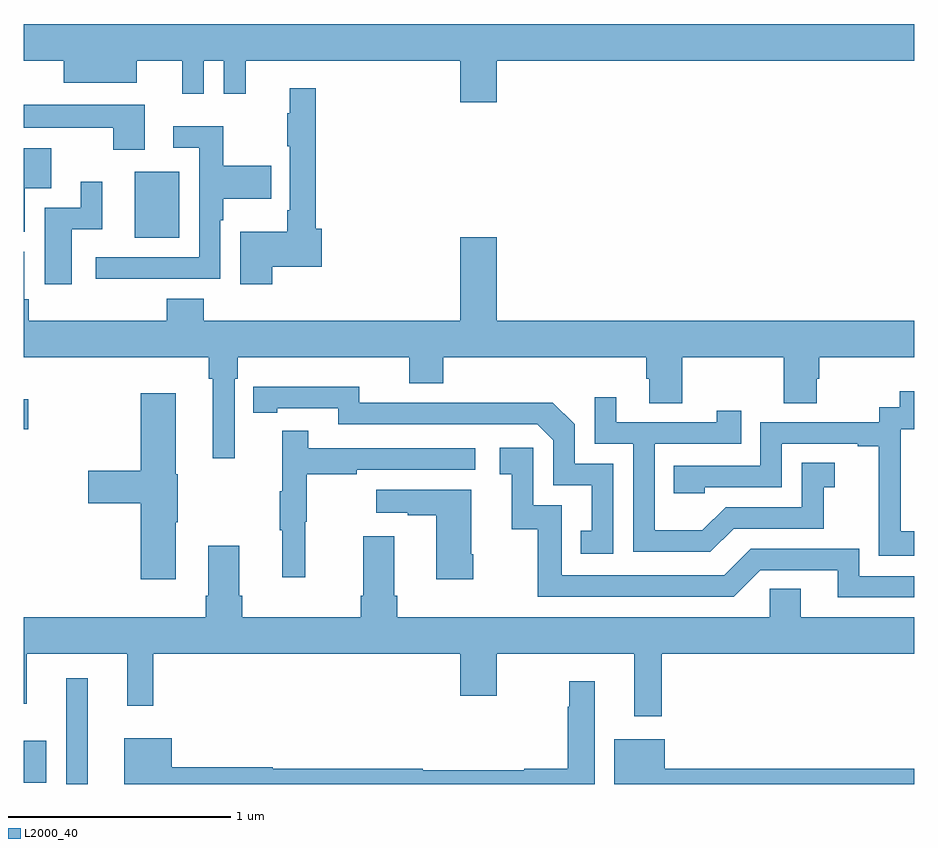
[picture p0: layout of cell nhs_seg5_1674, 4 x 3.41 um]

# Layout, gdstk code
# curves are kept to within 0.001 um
import gdstk
lib = gdstk.Library(unit=1e-6, precision=1e-09)
def R(c, l, rs):  # rectangles x0, y0, x1, y1
    for r in rs: c.add(gdstk.rectangle(r[:2], r[2:], *l))
def P(c, l, *ps):  # polygons
    for p in ps: c.add(gdstk.Polygon(p, *l))
L2000_40 = (2000, 40)

nhs_seg5_1674 = lib.new_cell('nhs_seg5_1674')
R(nhs_seg5_1674, L2000_40, [(211.191,898.799,211.288,899.275), (211,898.805,211.102,898.993), (211,900.392,211.021,900.526), (211.499,901.253,211.699,901.549)])
P(nhs_seg5_1674, L2000_40, [(213.124,902.048),(215,902.048),(215,902.212),(211,902.212),(211,902.048),(211.181,902.048),(211.181,901.949),(211.507,901.949),(211.507,902.048),(211.712,902.048),(211.712,901.899),(211.809,901.899),(211.809,902.048),(211.899,902.048),(211.899,901.899),(211.997,901.899),(211.997,902.048),(212.96,902.048),(212.96,901.86),(213.124,901.86)],
  [(212.117,901.121),(212.339,901.121),(212.339,901.292),(212.312,901.292),(212.312,901.924),(212.195,901.924),(212.195,901.811),(212.184,901.811),(212.184,901.663),(212.196,901.663),(212.196,901.375),(212.184,901.375),(212.184,901.279),(211.973,901.279),(211.973,901.044),(212.117,901.044)],
  [(211.543,901.849),(211,901.849),(211,901.745),(211.403,901.745),(211.403,901.647),(211.543,901.647)],
  [(211.559,901.068),(211.884,901.068),(211.884,901.331),(211.897,901.331),(211.897,901.427),(212.111,901.427),(212.111,901.575),(211.897,901.575),(211.897,901.753),(211.671,901.753),(211.671,901.656),(211.788,901.656),(211.788,901.164),(211.323,901.164),(211.323,901.067),(211.559,901.067)],
  [(211.006,901.475),(211.123,901.475),(211.123,901.654),(211,901.654),(211,901.278),(211.006,901.278)],
  [(211.216,901.29),(211.354,901.29),(211.354,901.504),(211.256,901.504),(211.256,901.386),(211.094,901.386),(211.094,901.044),(211.216,901.044)],
  [(211.947,900.62),(211.961,900.62),(211.961,900.716),(212.732,900.716),(212.732,900.599),(212.885,900.599),(212.885,900.716),(213.797,900.716),(213.797,900.618),(213.809,900.618),(213.809,900.508),(213.957,900.508),(213.957,900.716),(214.414,900.716),(214.414,900.508),(214.561,900.508),(214.561,900.618),(214.574,900.618),(214.574,900.716),(215,900.716),(215,900.88),(213.124,900.88),(213.124,901.255),(212.96,901.255),(212.96,900.88),(211.808,900.88),(211.808,900.979),(211.643,900.979),(211.643,900.88),(211.022,900.88),(211.022,900.976),(211.002,900.976),(211.002,901.189),(211,901.189),(211,900.716),(211.831,900.716),(211.831,900.62),(211.85,900.62),(211.85,900.261),(211.947,900.261)],
  [(213.648,900.237),(213.474,900.237),(213.474,900.414),(213.376,900.512),(212.968,900.512),(212.968,900.51),(212.508,900.51),(212.508,900.583),(212.032,900.582),(212.032,900.466),(212.14,900.466),(212.14,900.486),(212.412,900.486),(212.412,900.414),(213.306,900.414),(213.378,900.342),(213.378,900.141),(213.551,900.141),(213.551,899.937),(213.502,899.937),(213.502,899.832),(213.648,899.832)],
  [(215,899.935),(214.94,899.935),(214.94,900.164),(214.938,900.164),(214.938,900.393),(215,900.393),(215,900.562),(214.935,900.562),(214.935,900.492),(214.842,900.492),(214.842,900.423),(214.308,900.423),(214.308,900.228),(213.919,900.228),(213.919,900.105),(214.059,900.105),(214.059,900.132),(214.404,900.132),(214.404,900.327),(214.745,900.327),(214.745,900.315),(214.841,900.315),(214.841,900.031),(214.84,900.031),(214.84,899.825),(215,899.825)],
  [(211.684,899.975),(211.692,899.975),(211.692,900.189),(211.684,900.189),(211.684,900.553),(211.526,900.553),(211.526,900.206),(211.29,900.206),(211.29,900.059),(211.526,900.059),(211.526,899.718),(211.684,899.718)],
  [(214.189,899.946),(214.593,899.946),(214.593,900.131),(214.642,900.131),(214.642,900.241),(214.494,900.241),(214.494,900.042),(214.152,900.042),(214.048,899.938),(213.834,899.938),(213.834,900.327),(214.223,900.327),(214.223,900.475),(214.112,900.475),(214.112,900.423),(213.661,900.423),(213.661,900.535),(213.564,900.535),(213.564,900.327),(213.738,900.327),(213.738,899.841),(214.084,899.841)],
  [(212.264,899.976),(212.272,899.976),(212.272,900.19),(212.495,900.19),(212.495,900.21),(213.028,900.21),(213.028,900.306),(212.279,900.306),(212.279,900.385),(212.162,900.385),(212.162,900.113),(212.151,900.113),(212.151,899.939),(212.162,899.939),(212.162,899.727),(212.264,899.727)],
  [(215,899.733),(214.752,899.733),(214.752,899.856),(214.266,899.856),(214.146,899.736),(213.417,899.736),(213.417,900.051),(213.288,900.051),(213.288,900.31),(213.138,900.31),(213.138,900.189),(213.191,900.189),(213.191,899.943),(213.309,899.943),(213.309,899.64),(214.188,899.64),(214.308,899.76),(214.655,899.76),(214.655,899.637),(215,899.637)],
  [(213.018,899.83),(213.01,899.83),(213.01,900.121),(212.583,900.121),(212.583,900.017),(212.726,900.017),(212.726,900.007),(212.852,900.007),(212.852,899.718),(213.018,899.718)],
  [(212.96,899.196),(213.124,899.196),(213.124,899.384),(213.743,899.384),(213.743,899.103),(213.865,899.103),(213.865,899.384),(215,899.384),(215,899.548),(214.489,899.548),(214.489,899.675),(214.35,899.675),(214.35,899.548),(212.678,899.548),(212.678,899.644),(212.665,899.644),(212.665,899.911),(212.525,899.911),(212.525,899.644),(212.513,899.644),(212.513,899.548),(211.982,899.548),(211.982,899.644),(211.969,899.644),(211.969,899.869),(211.829,899.869),(211.829,899.644),(211.817,899.644),(211.817,899.548),(211,899.548),(211,899.159),(211.013,899.159),(211.013,899.384),(211.466,899.384),(211.466,899.151),(211.583,899.151),(211.583,899.384),(212.96,899.384)],
  [(213.565,899.26),(213.451,899.26),(213.451,899.147),(213.444,899.147),(213.444,898.868),(213.248,898.868),(213.248,898.861),(212.792,898.861),(212.792,898.868),(212.118,898.868),(212.118,898.874),(211.666,898.874),(211.666,899.005),(211.451,899.005),(211.451,898.799),(213.565,898.799)],
  [(215,898.868),(213.88,898.868),(213.88,898.999),(213.653,898.999),(213.653,898.799),(215,898.799)])

lib.write_gds('nhs_seg5_1674.gds')
